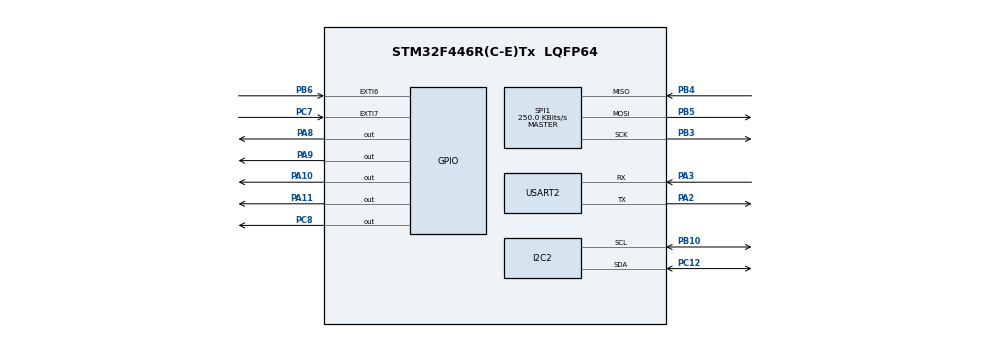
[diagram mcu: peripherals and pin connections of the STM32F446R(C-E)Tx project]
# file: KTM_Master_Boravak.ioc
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Mcu.Family=STM32F4
Mcu.Name=STM32F446R(C-E)Tx
Mcu.Package=LQFP64
NVIC.PriorityGroup=NVIC_PRIORITYGROUP_4
PA10.Signal=GPIO_Output
PA11.Signal=GPIO_Output
PA13.Mode=Serial_Wire
PA13.Signal=SYS_JTMS-SWDIO
PA14.Mode=Serial_Wire
PA14.Signal=SYS_JTCK-SWCLK
PA2.Mode=Asynchronous
PA2.Signal=USART2_TX
PA3.Mode=Asynchronous
PA3.Signal=USART2_RX
PA8.Signal=GPIO_Output
PA9.Signal=GPIO_Output
PB10.Mode=I2C
PB10.Signal=I2C2_SCL
PB3.Mode=Full_Duplex_Master
PB3.Signal=SPI1_SCK
PB4.Mode=Full_Duplex_Master
PB4.Signal=SPI1_MISO
PB5.Mode=Full_Duplex_Master
PB5.Signal=SPI1_MOSI
PB6.Signal=GPXTI6
PC12.Mode=I2C
PC12.Signal=I2C2_SDA
PC7.Signal=GPXTI7
PC8.Signal=GPIO_Output
ProjectManager.HeapSize=0x200
ProjectManager.StackSize=0x400
ProjectManager.TargetToolchain=STM32CubeIDE
RCC.CortexFreq_Value=16000000
RCC.USBFreq_Value=96000000
RCC.VCOOutputFreq_Value=192000000
SPI1.BaudRatePrescaler=SPI_BAUDRATEPRESCALER_64
SPI1.CalculateBaudRate=250.0 KBits/s
SPI1.DataSize=SPI_DATASIZE_16BIT
SPI1.Direction=SPI_DIRECTION_2LINES
SPI1.Mode=SPI_MODE_MASTER
SPI1.VirtualType=VM_MASTER
TIM6.Prescaler=15999
USART2.VirtualMode=VM_ASYNC
VP_TIM6_VS_ClockSourceINT.Mode=Enable_Timer
board=custom

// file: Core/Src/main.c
/* USER CODE BEGIN Header */
/**
  ******************************************************************************
  * @file           : main.c
  * @brief          : Main program body
  ******************************************************************************
  * @attention
  *
  * Copyright (c) 2026 STMicroelectronics.
  * All rights reserved.
  *
  * This software is licensed under terms that can be found in the LICENSE file
  * in the root directory of this software component.
  * If no LICENSE file comes with this software, it is provided AS-IS.
  *
  ******************************************************************************
  */
/* USER CODE END Header */
#include "main.h"
#include "i2c.h"
#include "spi.h"
#include "tim.h"
#include "usart.h"
#include "gpio.h"

/* USER CODE BEGIN Includes */
#include "lcd_i2c.h"
#include <stdio.h>
#include <math.h>
#ifdef __GNUC__
#define PUTCHAR_PROTOTYPE int __io_putchar(int ch)
#define GETCHAR_PROTOTYPE int __io_getchar(void)
#else
#define PUTCHAR_PROTOTYPE int fputc(int ch, FILE *f)
#define GETCHAR_PROTOTYPE int fgetc(FILE *f)
#endif
PUTCHAR_PROTOTYPE {
HAL_UART_Transmit(&huart2, (uint8_t*) &ch, 1, HAL_MAX_DELAY);
return ch;
}
GETCHAR_PROTOTYPE {
uint8_t ch = 0;
__HAL_UART_CLEAR_OREFLAG(&huart2);
HAL_UART_Receive(&huart2, (uint8_t*) &ch, 1, HAL_MAX_DELAY);
HAL_UART_Transmit(&huart2, (uint8_t*) &ch, 1, HAL_MAX_DELAY);
return ch;
}
/* USER CODE END Includes */

/* USER CODE BEGIN PV */
static uint16_t globalGPIOPin;
uint8_t brojac = 0;
/* USER CODE END PV */

void SystemClock_Config(void);

int main(void)
{

  /* USER CODE BEGIN 1 */
	setvbuf(stdin, NULL, _IONBF, 0);
  /* USER CODE END 1 */

  /* MCU Configuration--------------------------------------------------------*/

  /* Reset of all peripherals, Initializes the Flash interface and the Systick. */
  HAL_Init();

  /* Configure the system clock */
  SystemClock_Config();

  /* Initialize all configured peripherals */
  MX_GPIO_Init();
  MX_I2C2_Init();
  MX_SPI1_Init();
  MX_TIM6_Init();
  MX_USART2_UART_Init();
  /* USER CODE BEGIN 2 */
  LCD_Init(&hi2c2);
  LCD_Clear();
  /* USER CODE END 2 */

  /* Infinite loop */
  /* USER CODE BEGIN WHILE */
	uint16_t HTU21D_ADC_Raw;

  uint8_t master_tx[3];
   uint8_t master_rx[3];
   uint8_t relej;
  while (1)
  {
	  master_tx[0] = relej;  // relej stanje za slave
	  master_tx[1] = 0x00;   // dummy
	  master_tx[2] = 0x00;

	  HAL_GPIO_WritePin(GPIOC, GPIO_PIN_8, GPIO_PIN_RESET);
	     HAL_Delay(1);  // Kratki delay da slave registrira

	     // 3. OBAVI SPI RAZMIJENU
	     HAL_SPI_TransmitReceive(&hspi1, master_tx, master_rx, 3, 100);

	     // 4. PODIGNI NSS (deaktiviraj slave)
	     HAL_GPIO_WritePin(GPIOC, GPIO_PIN_8, GPIO_PIN_SET);

	     uint8_t temp = master_rx[1];
	     uint8_t pritisak = master_rx[2];

	  printf("Master poslao: R=%d\n", relej);
	  printf("Master primio: T=%d, P=%d\n", temp, pritisak);
	  // PRIMLJENI PODACI

	    float volt = (pritisak * 3.3) / 255.0;
	    float bar = 2.59 * volt - 1.29;
		  if (bar < 0) bar = 0;
		  switch(brojac) {
		  case 0:
			  HAL_GPIO_WritePin(GPIOA, GPIO_PIN_8, 1);
			  HAL_GPIO_WritePin(GPIOA, GPIO_PIN_9, 0);
			  HAL_GPIO_WritePin(GPIOA, GPIO_PIN_10, 0);
			  HAL_GPIO_WritePin(GPIOA, GPIO_PIN_11, 0);

			  if (bar > 0.1) relej=1;
			  else relej=0;

			  break;
		  case 1:
			  HAL_GPIO_WritePin(GPIOA, GPIO_PIN_8, 0);
			  HAL_GPIO_WritePin(GPIOA, GPIO_PIN_9, 1);
			  HAL_GPIO_WritePin(GPIOA, GPIO_PIN_10, 0);
			  HAL_GPIO_WritePin(GPIOA, GPIO_PIN_11, 0);

			  if (bar > 0.75) relej=1;
			  else relej=0;

			  break;
		  case 2:
			  HAL_GPIO_WritePin(GPIOA, GPIO_PIN_8, 0);
			  HAL_GPIO_WritePin(GPIOA, GPIO_PIN_9, 0);
			  HAL_GPIO_WritePin(GPIOA, GPIO_PIN_10, 1);
			  HAL_GPIO_WritePin(GPIOA, GPIO_PIN_11, 0);

			  if (bar > 1.2) relej=1;
			  else relej=0;

			  break;
		  case 3:
			  HAL_GPIO_WritePin(GPIOA, GPIO_PIN_8, 0);
			  HAL_GPIO_WritePin(GPIOA, GPIO_PIN_9, 0);
			  HAL_GPIO_WritePin(GPIOA, GPIO_PIN_10, 0);
			  HAL_GPIO_WritePin(GPIOA, GPIO_PIN_11, 1);
			  relej=1;

			  break;
		  default:
			  HAL_GPIO_WritePin(GPIOA, GPIO_PIN_8, 0);
			  HAL_GPIO_WritePin(GPIOA, GPIO_PIN_9, 0);
			  HAL_GPIO_WritePin(GPIOA, GPIO_PIN_10, 0);
			  HAL_GPIO_WritePin(GPIOA, GPIO_PIN_11, 0);
			  relej=0;

			  break;
		 }

		    LCD_SetCursor(0,0);
		    LCD_Printf("R:%d T:%d", relej, temp);
		    LCD_SetCursor(0,1);
		    LCD_Printf("P:%.2f B:%.2f", volt, bar);
		    HAL_Delay(100);

		  		/*  printf("Brojac: %d\r\n", brojac);
		  		  printf("Pritisak: %d\r\n", pritisak);
		  		  printf("Bar: %.4f\r\n", bar);
		  		  printf("Volt: %.2f\r\n", volt);
		  		  printf("Relej: %d\r\n\n", relej);*/

    /* USER CODE END WHILE */

  }
}

void SystemClock_Config(void)
{
  RCC_OscInitTypeDef RCC_OscInitStruct = {0};
  RCC_ClkInitTypeDef RCC_ClkInitStruct = {0};

  /** Configure the main internal regulator output voltage
  */
  __HAL_RCC_PWR_CLK_ENABLE();
  __HAL_PWR_VOLTAGESCALING_CONFIG(PWR_REGULATOR_VOLTAGE_SCALE3);

  /** Initializes the RCC Oscillators according to the specified parameters
  * in the RCC_OscInitTypeDef structure.
  */
  RCC_OscInitStruct.OscillatorType = RCC_OSCILLATORTYPE_HSI;
  RCC_OscInitStruct.HSIState = RCC_HSI_ON;
  RCC_OscInitStruct.HSICalibrationValue = RCC_HSICALIBRATION_DEFAULT;
  RCC_OscInitStruct.PLL.PLLState = RCC_PLL_NONE;
  if (HAL_RCC_OscConfig(&RCC_OscInitStruct) != HAL_OK)
  {
    Error_Handler();
  }

  /** Initializes the CPU, AHB and APB buses clocks
  */
  RCC_ClkInitStruct.ClockType = RCC_CLOCKTYPE_HCLK|RCC_CLOCKTYPE_SYSCLK
                              |RCC_CLOCKTYPE_PCLK1|RCC_CLOCKTYPE_PCLK2;
  RCC_ClkInitStruct.SYSCLKSource = RCC_SYSCLKSOURCE_HSI;
  RCC_ClkInitStruct.AHBCLKDivider = RCC_SYSCLK_DIV1;
  RCC_ClkInitStruct.APB1CLKDivider = RCC_HCLK_DIV1;
  RCC_ClkInitStruct.APB2CLKDivider = RCC_HCLK_DIV1;

  if (HAL_RCC_ClockConfig(&RCC_ClkInitStruct, FLASH_LATENCY_0) != HAL_OK)
  {
    Error_Handler();
  }
}

/* USER CODE BEGIN 4 */
void HAL_GPIO_EXTI_Callback(uint16_t GPIO_Pin) {
	globalGPIOPin = GPIO_Pin;
	__HAL_TIM_CLEAR_IT(&htim6, TIM_IT_UPDATE);
	HAL_TIM_Base_Start_IT(&htim6);
}
void HAL_TIM_PeriodElapsedCallback(TIM_HandleTypeDef *htim) {
	if (htim -> Instance == TIM6) {
		if (HAL_GPIO_ReadPin(GPIOB, globalGPIOPin) == GPIO_PIN_RESET) {
			if (globalGPIOPin == GPIO_PIN_6) {
				if (0 <= brojac && brojac < 3)
					brojac++;
			}
		}
		if (HAL_GPIO_ReadPin(GPIOC, globalGPIOPin) == GPIO_PIN_RESET) {
			if (globalGPIOPin == GPIO_PIN_7) {
				if (0 < brojac && brojac <= 3)
				brojac--;
			}
		}
		HAL_TIM_Base_Stop_IT(&htim6);
	}
}

/* USER CODE END 4 */

void Error_Handler(void)
{
  __disable_irq();
  while (1)
  {
  }
}
